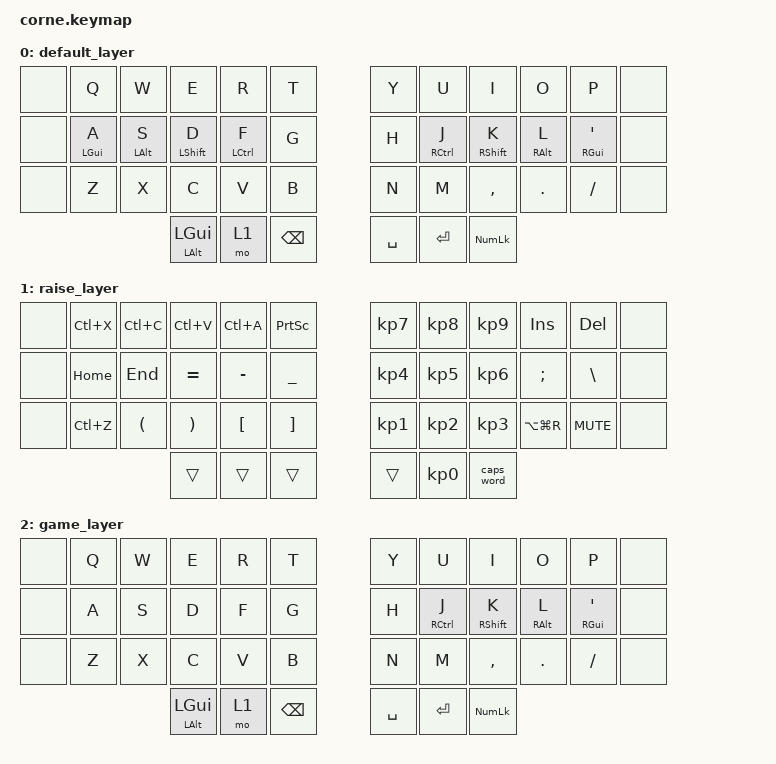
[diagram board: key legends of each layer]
/*
 * Copyright (c) 2020 The ZMK Contributors
 * test
 * SPDX-License-Identifier: MIT
 */

 /*          42 KEY MATRIX / LAYOUT MAPPING
  ╭────────────────────────┬────────────────────────╮ 
  │  0   1   2   3   4   5 │  6   7   8   9  10  11 │ 
  │ 12  13  14  15  16  17 │ 18  19  20  21  22  23 │ 
  │ 24  25  26  27  28  29 │ 30  31  32  33  34  35 │ 
  ╰───────────╮ 36  37  38 │ 39  40  41 ╭───────────╯ 
              ╰────────────┴────────────╯             */

#include <behaviors.dtsi>
#include <dt-bindings/zmk/keys.h>
#include <dt-bindings/zmk/bt.h>

#define DEFAULT 0
#define RAISE 1 // this is a test push to see if my codes are wrong or something else
#define GAME 2 // this is a test push to see if my codes are wrong or something else

#define KEYS_L 0 1 2 3 4 5 12 13 14 15 16 17 24 25 26 27 28 29  // left-hand keys
#define KEYS_R 6 7 8 9 10 11 18 19 20 21 22 23 30 31 32 33 34 35 // right-hand keys
#define THUMBS 36 37 38 39 40 41   

#define TAPPING_TERM 200
#define QUICK_TAP    100

#define COMBO(NAME, BINDINGS, KEYPOS, LAYERS) \
  combo_##NAME { \
    timeout-ms = <25>; \
    bindings = <BINDINGS>; \
    key-positions = <KEYPOS>; \
    layers = <LAYERS>; \
  };

&caps_word {
    continue-list = <UNDERSCORE MINUS SPACE SINGLE_QUOTE DOUBLE_QUOTES EXCLAMATION QUESTION BACKSPACE>;
}; 

&lt {
    flavor = "tap-preferred";
    tapping-term-ms = <TAPPING_TERM>;
};

&mt {
    flavor = "tap-preferred";
    tapping-term-ms = <TAPPING_TERM>;
};

/ 
 

{

 behaviors {
       hm: homerow_mods {
            compatible = "zmk,behavior-hold-tap";
            label = "LAYER_MODS";
            #binding-cells = <2>;
            tapping-term-ms = <TAPPING_TERM>;
            quick_tap_ms = <0>;
            flavor = "tap-preferred";
            bindings = <&kp>, <&kp>;
        };

        hml: homerow_mods_left {
            compatible = "zmk,behavior-hold-tap";
            label = "HOMEROW_MODS_LEFT";
            #binding-cells = <2>;
            tapping-term-ms = <TAPPING_TERM>;
            quick_tap_ms = <0>;
            flavor = "tap-preferred";
            bindings = <&kp>, <&kp>;
            hold-trigger-key-positions = <KEYS_R THUMBS>;
            hold-trigger-on-release;             // delay positional check until key-release
        };

         hmr: homerow_mods_right {
            compatible = "zmk,behavior-hold-tap";
            label = "HOMEROW_MODS_RIGHT";
            #binding-cells = <2>;
            tapping-term-ms = <TAPPING_TERM>;
            quick_tap_ms = <0>;
            flavor = "tap-preferred";
            bindings = <&kp>, <&kp>;
            hold-trigger-key-positions = <KEYS_L THUMBS>;
            hold-trigger-on-release;             // delay positional check until key-release
        };

        hs: homerow_shift {
            compatible = "zmk,behavior-hold-tap";
            label = "HOMEROW_SHIFT";
            #binding-cells = <2>;
            tapping-term-ms = <TAPPING_TERM>;
            quick_tap_ms = <0>;
            flavor = "tap-preferred";
            bindings = <&kp>, <&kp>;
        };
    }; 

    combos {
                compatible = "zmk,combos";

                COMBO(escape, &kp ESC, 1 2, DEFAULT GAME) 
                COMBO(tab, &kp TAB, 2 3, DEFAULT GAME) 
                COMBO(page_up, &kp PAGE_UP, 3 4, DEFAULT GAME) 
                COMBO(page_down, &kp PAGE_DOWN, 4 5, DEFAULT GAME) 

                COMBO(exclamation,&kp EXCL, 1 13, DEFAULT GAME) 
                COMBO(alias,&kp AT, 2 14, DEFAULT GAME)
                COMBO(hash,&kp HASH, 3 15, DEFAULT GAME) 
                COMBO(dollar,&kp DOLLAR, 4 16,DEFAULT GAME) 
                COMBO(percent,&kp PERCENT, 5 17, DEFAULT GAME) 
                COMBO(caret,&kp CARET, 6 18, DEFAULT GAME) 
                COMBO(ampersand,&kp AMPS, 7 19, DEFAULT GAME) 
                COMBO(asterisk,&kp ASTRK,  8 20, DEFAULT GAME) 
                COMBO(leftpar,&kp LPAR, 9 21, DEFAULT GAME) 
                COMBO(rightpar,&kp RPAR, 10 22, DEFAULT GAME) 
                
                COMBO(f1,&kp F1, 13 25, DEFAULT GAME) 
                COMBO(f2,&kp F2, 14 26, DEFAULT GAME)
                COMBO(f3,&kp F3, 15 27, DEFAULT GAME) 
                COMBO(f4,&kp F4, 16 28, DEFAULT GAME) 
                COMBO(f5,&kp F5, 17 29, DEFAULT GAME) 
                COMBO(f6,&kp F6, 18 30, DEFAULT GAME) 
                COMBO(f7,&kp F7, 19 31, DEFAULT GAME) 
                COMBO(f8,&kp F8, 20 32, DEFAULT GAME) 
                COMBO(f9,&kp F9, 21 33, DEFAULT GAME) 
                COMBO(f10,&kp F10, 22 34, DEFAULT GAME) 
                 
                COMBO(btclr,&bt BT_CLR, 1 10, DEFAULT GAME)
                COMBO(btsel1,&bt BT_SEL 0, 13 22, DEFAULT GAME) 
                COMBO(btsel2,&bt BT_SEL 1, 25 34, DEFAULT GAME) 

                COMBO(gaming,&tog 2, 29 30, DEFAULT GAME)
              
                            
        };

 /*          42 KEY MATRIX / LAYOUT MAPPING
  ╭────────────────────────┬────────────────────────╮ 
  │  0   1   2   3   4   5 │  6   7   8   9  10  11 │ 
  │ 12  13  14  15  16  17 │ 18  19  20  21  22  23 │ 
  │ 24  25  26  27  28  29 │ 30  31  32  33  34  35 │ 
  ╰───────────╮ 36  37  38 │ 39  40  41 ╭───────────╯ 
              ╰────────────┴────────────╯             */

        keymap {
                compatible = "zmk,keymap";

                default_layer {  
                        bindings = <
//╭───────┬──────────┬─────────────┬─────────────┬─────────────┬──────────╮       ╭──────────┬──────────┬─────────────┬─────────────┬─────────────┬──────────╮
    &none     &kp Q       &kp W         &kp E         &kp R       &kp T             &kp Y       &kp U        &kp I         &kp O        &kp P        &none
//├───────┼──────────┼─────────────┼─────────────┼─────────────┼──────────┤       ├──────────┼──────────┼─────────────┼─────────────┼─────────────┼──────────┤
    &none &hml LGUI A   &hml LALT S  &hml LSHFT D  &hml LCTRL F   &kp G             &kp H    &hmr RCTRL J &hmr RSHFT K  &hmr RALT L  &hmr RGUI APOS  &none
//├───────┼──────────┼─────────────┼─────────────┼─────────────┼──────────┤       ├──────────┼──────────┼─────────────┼─────────────┼─────────────┼──────────┤
    &none     &kp Z       &kp X         &kp C         &kp V       &kp B             &kp N       &kp M      &kp COMMA      &kp DOT      &kp FSLH      &none
//╰───────┴──────────┴─────────────┼─────────────┼─────────────┼──────────╯       ╰──────────┴──────────┴─────────────┼─────────────┼─────────────┼──────────╯
                                     &mt LALT LGUI   &mo 1    &kp BSPC         &kp SPACE   &kp ENTER  &kp KP_NUM  
 // 
            >;
                };

                raise_layer {
                    bindings = <
//╭───────┬──────────┬─────────────┬─────────────┬─────────────┬──────────╮       ╭──────────┬──────────┬─────────────┬─────────────┬─────────────┬──────────╮
    &none   &kp LC(X)   &kp LC(C)     &kp LC(V)     &kp LC(A)    &kp PSCRN          &kp KP_N7  &kp KP_N8   &kp KP_N9     &kp INS      &kp DEL        &none
//├───────┼──────────┼─────────────┼─────────────┼─────────────┼──────────┤       ├──────────┼──────────┼─────────────┼─────────────┼─────────────┼──────────┤
    &none   &kp HOME    &kp END       &kp EQUAL    &kp MINUS     &kp UNDER          &kp KP_N4  &kp KP_N5   &kp KP_N6     &kp SEMI     &kp BSLH       &none
//├───────┼──────────┼─────────────┼─────────────┼─────────────┼──────────┤       ├──────────┼──────────┼─────────────┼─────────────┼─────────────┼──────────┤
    &none   &kp LC(Z)   &kp LPAR      &kp RPAR      &kp LBKT     &kp RBKT           &kp KP_N1  &kp KP_N2   &kp KP_N3   &kp LA(LG(R))  &kp C_MUTE     &none
//╰───────┴──────────┴─────────────┼─────────────┼─────────────┼──────────╯       ╰──────────┴──────────┴─────────────┼─────────────┼─────────────┼──────────╯
                                       &trans       &trans        &trans             &trans   &kp KP_N0    &caps_word
 //      
               >;
                };

                game_layer {  
                        bindings = <
//╭───────┬──────────┬─────────────┬─────────────┬─────────────┬──────────╮       ╭──────────┬──────────┬─────────────┬─────────────┬─────────────┬──────────╮
    &none     &kp Q       &kp W         &kp E         &kp R       &kp T             &kp Y       &kp U        &kp I         &kp O        &kp P        &none
//├───────┼──────────┼─────────────┼─────────────┼─────────────┼──────────┤       ├──────────┼──────────┼─────────────┼─────────────┼─────────────┼──────────┤
    &none     &kp A       &kp S         &kp D         &kp F       &kp G             &kp H    &hmr RCTRL J &hmr RSHFT K  &hmr RALT L  &hmr RGUI APOS  &none
//├───────┼──────────┼─────────────┼─────────────┼─────────────┼──────────┤       ├──────────┼──────────┼─────────────┼─────────────┼─────────────┼──────────┤
    &none     &kp Z       &kp X         &kp C         &kp V       &kp B             &kp N       &kp M      &kp COMMA      &kp DOT      &kp FSLH      &none
//╰───────┴──────────┴─────────────┼─────────────┼─────────────┼──────────╯       ╰──────────┴──────────┴─────────────┼─────────────┼─────────────┼──────────╯
                                     &mt LALT LGUI   &mo 1    &kp BSPC         &kp SPACE   &kp ENTER  &kp KP_NUM  
 // 
            >;
                };
                
        };
};
